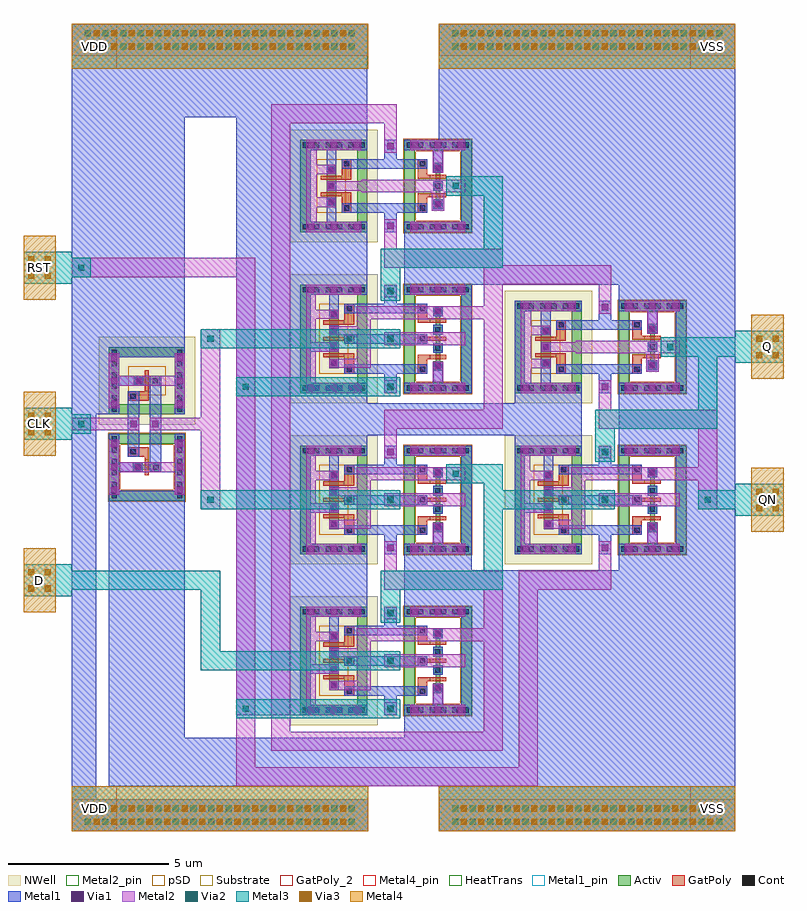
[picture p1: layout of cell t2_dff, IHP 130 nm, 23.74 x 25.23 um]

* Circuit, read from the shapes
.subckt t2_dff CLK D Q QN RST VDD VSS
XM1 t2_inverter_6/Y CLK VSS VSS sg13_lv_nmos w=0.15u l=0.13u
XM2 n1 RST VSS VSS sg13_lv_nmos w=0.15u l=0.13u
XM3 n2 D n1 VSS sg13_lv_nmos w=0.15u l=0.13u
XM4 t2_nand2$2_0/inA t2_nand3_2/inA n2 VSS sg13_lv_nmos w=0.15u l=0.13u
XM5 n3 t2_nand2$2_0/inA VSS VSS sg13_lv_nmos w=0.15u l=0.13u
XM6 n4 t2_inverter_6/Y n3 VSS sg13_lv_nmos w=0.15u l=0.13u
XM7 t2_nand3_2/inA t2_nand2$2_4/inA n4 VSS sg13_lv_nmos w=0.15u l=0.13u
XM8 n5 RST VSS VSS sg13_lv_nmos w=0.15u l=0.13u
XM9 n6 t2_inverter_6/Y n5 VSS sg13_lv_nmos w=0.15u l=0.13u
XM10 t2_nand2$2_4/inA t2_nand3_5/inA n6 VSS sg13_lv_nmos w=0.15u l=0.13u
XM11 n7 t2_nand2$2_4/inA t2_nand3_5/inA VSS sg13_lv_nmos w=0.15u l=0.13u
XM12 VSS t2_nand2$2_0/inA n7 VSS sg13_lv_nmos w=0.15u l=0.13u
XM13 n8 RST VSS VSS sg13_lv_nmos w=0.15u l=0.13u
XM14 n9 t2_nand3_2/inA n8 VSS sg13_lv_nmos w=0.15u l=0.13u
XM15 QN Q n9 VSS sg13_lv_nmos w=0.15u l=0.13u
XM16 n10 QN Q VSS sg13_lv_nmos w=0.15u l=0.13u
XM17 VSS t2_nand2$2_4/inA n10 VSS sg13_lv_nmos w=0.15u l=0.13u
XM18 t2_inverter_6/Y CLK VDD VDD sg13_lv_pmos w=0.3u l=0.13u
XM19 t2_nand3_5/inA t2_nand2$2_4/inA VDD VDD sg13_lv_pmos w=0.3u l=0.13u
XM20 VDD t2_nand2$2_0/inA t2_nand3_5/inA VDD sg13_lv_pmos w=0.3u l=0.13u
XM21 VDD RST t2_nand2$2_0/inA VDD sg13_lv_pmos w=0.3u l=0.13u
XM22 t2_nand2$2_0/inA D VDD VDD sg13_lv_pmos w=0.3u l=0.13u
XM23 VDD t2_nand3_2/inA t2_nand2$2_0/inA VDD sg13_lv_pmos w=0.3u l=0.13u
XM24 VDD t2_nand2$2_0/inA t2_nand3_2/inA VDD sg13_lv_pmos w=0.3u l=0.13u
XM25 t2_nand3_2/inA t2_inverter_6/Y VDD VDD sg13_lv_pmos w=0.3u l=0.13u
XM26 VDD t2_nand2$2_4/inA t2_nand3_2/inA VDD sg13_lv_pmos w=0.3u l=0.13u
XM27 VDD RST t2_nand2$2_4/inA VDD sg13_lv_pmos w=0.3u l=0.13u
XM28 t2_nand2$2_4/inA t2_inverter_6/Y VDD VDD sg13_lv_pmos w=0.3u l=0.13u
XM29 VDD t2_nand3_5/inA t2_nand2$2_4/inA VDD sg13_lv_pmos w=0.3u l=0.13u
XM30 Q QN VDD VDD sg13_lv_pmos w=0.3u l=0.13u
XM31 VDD t2_nand2$2_4/inA Q VDD sg13_lv_pmos w=0.3u l=0.13u
XM32 VDD RST QN VDD sg13_lv_pmos w=0.3u l=0.13u
XM33 QN t2_nand3_2/inA VDD VDD sg13_lv_pmos w=0.3u l=0.13u
XM34 VDD Q QN VDD sg13_lv_pmos w=0.3u l=0.13u
.ends

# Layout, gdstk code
from math import pi, radians
import gdstk
lib = gdstk.Library(unit=1e-6, precision=1e-09)
def R(c, l, rs):  # rectangles x0, y0, x1, y1
    for r in rs: c.add(gdstk.rectangle(r[:2], r[2:], *l))
def A(c, l, x, y, w, h, nx, ny, dx, dy):  # array of equal rectangles
    R(c, l, [(x+i*dx, y+j*dy, x+i*dx+w, y+j*dy+h) for i in range(nx) for j in range(ny)])
Activ = (1, 0)
GatPoly = (5, 0)
GatPoly_2 = (5, 2)
Cont = (6, 0)
Metal1 = (8, 0)
Metal1_pin = (8, 2)
Metal2 = (10, 0)
Metal2_pin = (10, 2)
pSD = (14, 0)
Via1 = (19, 0)
Via2 = (29, 0)
Metal3 = (30, 0)
NWell = (31, 0)
Substrate = (40, 0)
Via3 = (49, 0)
Metal4 = (50, 0)
Metal4_pin = (50, 2)
HeatTrans = (51, 0)

pmos_2 = lib.new_cell('pmos$2')
R(pmos_2, Activ, [(0,0,0.3,0.3), (0,0,0.81,0.3), (0.51,0,0.81,0.3)])
R(pmos_2, GatPoly, [(0.34,-0.18,0.47,0.48), (0.34,-0.18,0.47,0.48)])
R(pmos_2, Cont, [(0.07,0.07,0.23,0.23), (0.58,0.07,0.74,0.23)])
R(pmos_2, Metal1, [(0.07,0,0.23,0.3), (0.07,0,0.23,0.3), (0.58,0,0.74,0.3), (0.58,0,0.74,0.3)])
R(pmos_2, pSD, [(-0.18,-0.3,0.99,0.6)])
R(pmos_2, NWell, [(-0.31,-0.31,1.12,0.61)])
R(pmos_2, Substrate, [(0.51,0,0.81,0.3)])
R(pmos_2, HeatTrans, [(0.34,-0.18,0.47,0.48)])
pmos_2.add(gdstk.Label('pmos', (0.405,0.15), layer=63, texttype=0))
pmos_2.add(gdstk.Label('pmos', (0.405,0.15), layer=51, texttype=0))

nmos_2 = lib.new_cell('nmos$2')
R(nmos_2, Activ, [(0,0,0.3,0.3), (0.57,0,0.87,0.3), (0,0.075,0.87,0.225)])
R(nmos_2, GatPoly, [(0.37,-0.105,0.5,0.405)])
R(nmos_2, GatPoly_2, [(0.37,-0.105,0.5,0.405)])
R(nmos_2, Cont, [(0.07,0.07,0.23,0.23), (0.64,0.07,0.8,0.23)])
R(nmos_2, Metal1, [(0.07,0.02,0.23,0.28), (0.64,0.02,0.8,0.28)])
R(nmos_2, Metal1_pin, [(0.07,0.02,0.23,0.28), (0.64,0.02,0.8,0.28)])
R(nmos_2, HeatTrans, [(0.37,-0.105,0.5,0.405)])
nmos_2.add(gdstk.Label('nmos', (0.435,0.15), layer=63, texttype=0))
nmos_2.add(gdstk.Label('nmos', (0.435,0.15), layer=51, texttype=0))

t2_nand2_2 = lib.new_cell('t2_nand2$2')
R(t2_nand2_2, Activ, [(-6.22,-2.335,-3.66,-2.015), (-3.66,-2.335,-3.34,-0.555), (-6.22,-2.015,-5.9,-0.235), (-5.9,-0.555,-3.34,-0.235), (-6.22,0.915,-3.66,1.235), (-3.66,0.915,-3.34,2.695), (-6.22,1.235,-5.9,3.015), (-5.9,2.695,-3.34,3.015)])
R(t2_nand2_2, GatPoly, [(-5.13,-1.03,-5,-0.955), (-4.56,-1.03,-4.43,-0.955), (-5.62,-0.955,-5,-0.655), (-4.56,-0.955,-3.94,-0.655), (-5.62,1.415,-4.97,1.715), (-4.59,1.415,-3.94,1.715)])
A(t2_nand2_2, Cont, -3.58, -2.255, 0.16, 0.16, 1, 5, 0, 0.355)
A(t2_nand2_2, Cont, -6.14, -1.895, 0.16, 0.16, 1, 5, 0, 0.355)
A(t2_nand2_2, Cont, -6.14, 1.355, 0.16, 0.16, 1, 5, 0, 0.355)
A(t2_nand2_2, Cont, -3.58, 1.355, 0.16, 0.16, 1, 5, 0, 0.355)
R(t2_nand2_2, Cont, [(-6.14,-2.255,-5.98,-2.095), (-5.55,-0.885,-5.39,-0.725), (-4.17,-0.885,-4.01,-0.725), (-3.58,-0.475,-3.42,-0.315), (-6.14,0.995,-5.98,1.155), (-3.58,0.995,-3.42,1.155), (-5.55,1.485,-5.39,1.645), (-4.17,1.485,-4.01,1.645)])
R(t2_nand2_2, Metal1, [(-6.22,-2.335,-5.9,-0.235), (-5.9,-2.335,-3.66,-2.015), (-3.66,-2.335,-3.34,-0.235), (-5.9,-1.435,-5.205,-1.135), (-4.93,-1.435,-4.63,-1.135), (-4.36,-1.435,-4.06,-1.135), (-5.62,-0.955,-5.32,1.715), (-4.24,-0.955,-3.94,1.715), (-6.22,-0.005,-5.62,0.395), (-3.94,-0.005,-3.34,0.395), (-6.22,0.915,-5.9,3.015), (-3.66,0.915,-3.34,3.015), (-5.9,1.895,-5.145,2.195), (-4.93,1.895,-4.63,2.195), (-4.415,1.895,-3.66,2.195), (-5.9,2.695,-3.66,3.015)])
R(t2_nand2_2, Metal2, [(-6.22,-2.14,-5.9,-0.425), (-4.98,-2.14,-4.58,1.105), (-3.66,-2.14,-3.34,-0.425), (-4.58,-1.485,-4.01,-1.085), (-5.9,-1.445,-5.19,-1.125), (-6.22,-0.005,-5.82,0.395), (-3.74,-0.005,-3.34,0.395), (-6.22,1.105,-5.9,2.82), (-4.93,1.105,-4.63,2.19), (-3.66,1.105,-3.34,2.82), (-5.44,1.9,-5.14,2.5), (-4.42,1.9,-4.12,2.5), (-5.9,2.5,-3.66,2.82)])
R(t2_nand2_2, Metal2_pin, [(-5.455,-1.39,-5.245,-1.18), (-4.315,-1.39,-4.105,-1.18), (-6.125,0.09,-5.915,0.3), (-3.645,0.09,-3.435,0.3), (-5.395,1.94,-5.185,2.15), (-4.375,1.94,-4.165,2.15)])
R(t2_nand2_2, pSD, [(-6.25,-2.365,-3.69,-1.985), (-3.69,-2.365,-3.31,-0.585), (-6.25,-1.985,-5.87,-0.205), (-5.87,-0.585,-3.31,-0.205)])
A(t2_nand2_2, Via1, -5.385, 1.95, 0.19, 0.19, 3, 1, 0.51, 0)
R(t2_nand2_2, Via1, [(-6.155,-2.09,-5.965,-1.9), (-3.595,-2.09,-3.405,-1.9), (-5.445,-1.38,-5.255,-1.19), (-4.305,-1.38,-4.115,-1.19), (-3.595,-1.38,-3.405,-1.19), (-6.155,-1.375,-5.965,-1.185), (-6.155,-0.665,-5.965,-0.475), (-3.595,-0.665,-3.405,-0.475), (-6.115,0.1,-5.925,0.29), (-3.635,0.1,-3.445,0.29), (-6.155,1.155,-5.965,1.345), (-3.595,1.155,-3.405,1.345), (-6.155,1.87,-5.965,2.06), (-3.595,1.87,-3.405,2.06), (-6.155,2.58,-5.965,2.77), (-3.595,2.58,-3.405,2.77)])
R(t2_nand2_2, NWell, [(-6.54,0.595,-3.02,3.335)])
t2_nand2_2.add(gdstk.Reference(pmos_2, (-5.44,1.895)))
t2_nand2_2.add(gdstk.Reference(pmos_2, (-4.93,1.895)))
t2_nand2_2.add(gdstk.Reference(nmos_2, (-5.5,-1.435)))
t2_nand2_2.add(gdstk.Reference(nmos_2, (-4.93,-1.435)))
t2_nand2_2.add(gdstk.Label('VDD', (-5.29,2.045), layer=10, texttype=2))
t2_nand2_2.add(gdstk.Label('VDD', (-4.27,2.045), layer=10, texttype=2))
t2_nand2_2.add(gdstk.Label('VSS', (-5.35,-1.285), layer=10, texttype=2))
t2_nand2_2.add(gdstk.Label('out', (-4.21,-1.285), layer=10, texttype=2))
t2_nand2_2.add(gdstk.Label('inA', (-6.02,0.195), layer=10, texttype=2))
t2_nand2_2.add(gdstk.Label('inB', (-3.54,0.195), layer=10, texttype=2))

pmos_1_1 = lib.new_cell('pmos$1$1')
R(pmos_1_1, Activ, [(0,0,0.3,0.3), (0,0,0.81,0.3), (0.51,0,0.81,0.3)])
R(pmos_1_1, GatPoly, [(0.34,-0.18,0.47,0.48), (0.34,-0.18,0.47,0.48)])
R(pmos_1_1, Cont, [(0.07,0.07,0.23,0.23), (0.58,0.07,0.74,0.23)])
R(pmos_1_1, Metal1, [(0.07,0,0.23,0.3), (0.07,0,0.23,0.3), (0.58,0,0.74,0.3), (0.58,0,0.74,0.3)])
R(pmos_1_1, pSD, [(-0.18,-0.3,0.99,0.6)])
R(pmos_1_1, NWell, [(-0.31,-0.31,1.12,0.61)])
R(pmos_1_1, Substrate, [(0.51,0,0.81,0.3)])
R(pmos_1_1, HeatTrans, [(0.34,-0.18,0.47,0.48)])
pmos_1_1.add(gdstk.Label('pmos', (0.405,0.15), layer=63, texttype=0))
pmos_1_1.add(gdstk.Label('pmos', (0.405,0.15), layer=51, texttype=0))

nmos_1_1 = lib.new_cell('nmos$1$1')
R(nmos_1_1, Activ, [(0,0,0.3,0.3), (0.57,0,0.87,0.3), (0,0.075,0.87,0.225)])
R(nmos_1_1, GatPoly, [(0.37,-0.105,0.5,0.405)])
R(nmos_1_1, GatPoly_2, [(0.37,-0.105,0.5,0.405)])
R(nmos_1_1, Cont, [(0.07,0.07,0.23,0.23), (0.64,0.07,0.8,0.23)])
R(nmos_1_1, Metal1, [(0.07,0.02,0.23,0.28), (0.64,0.02,0.8,0.28)])
R(nmos_1_1, Metal1_pin, [(0.07,0.02,0.23,0.28), (0.64,0.02,0.8,0.28)])
R(nmos_1_1, HeatTrans, [(0.37,-0.105,0.5,0.405)])
nmos_1_1.add(gdstk.Label('nmos', (0.435,0.15), layer=63, texttype=0))
nmos_1_1.add(gdstk.Label('nmos', (0.435,0.15), layer=51, texttype=0))

t2_nand3 = lib.new_cell('t2_nand3')
R(t2_nand3, Activ, [(-6.73,-2.335,-6.41,-0.555), (-6.41,-2.335,-3.34,-2.015), (-3.66,-2.015,-3.34,-0.235), (-6.73,-0.555,-3.66,-0.235), (-6.73,0.915,-3.66,1.235), (-3.66,0.915,-3.34,2.695), (-6.73,1.235,-6.41,3.015), (-6.41,2.695,-3.34,3.015)])
A(t2_nand3, GatPoly, -5.67, -1.03, 0.13, 0.075, 3, 1, 0.57, 0)
R(t2_nand3, GatPoly, [(-6.13,-0.955,-5.54,-0.655), (-5.185,-0.955,-4.885,-0.655), (-4.53,-0.955,-3.94,-0.655), (-6.13,1.335,-5.48,1.635), (-5.185,1.335,-4.885,1.635), (-4.59,1.335,-3.94,1.635)])
A(t2_nand3, Cont, -6.65, -1.895, 0.16, 0.16, 1, 5, 0, 0.355)
A(t2_nand3, Cont, -3.58, -1.895, 0.16, 0.16, 1, 5, 0, 0.355)
A(t2_nand3, Cont, -6.06, -0.885, 0.16, 0.16, 3, 2, 0.945, 2.29)
A(t2_nand3, Cont, -6.65, 1.355, 0.16, 0.16, 1, 5, 0, 0.355)
A(t2_nand3, Cont, -3.58, 1.355, 0.16, 0.16, 1, 5, 0, 0.355)
R(t2_nand3, Cont, [(-6.65,-2.255,-6.49,-2.095), (-3.58,-2.255,-3.42,-2.095), (-6.65,0.995,-6.49,1.155), (-3.58,0.995,-3.42,1.155)])
A(t2_nand3, Metal1, -6.04, -1.435, 0.3, 0.3, 3, 1, 0.57, 0)
A(t2_nand3, Metal1, -6.13, -0.955, 0.3, 2.59, 3, 1, 0.945, 0)
R(t2_nand3, Metal1, [(-6.73,-2.335,-6.41,-0.235), (-6.41,-2.335,-3.66,-2.015), (-3.66,-2.335,-3.34,-0.235), (-4.325,-1.43,-3.66,-1.14), (-6.73,-0.005,-6.13,0.395), (-3.94,-0.005,-3.34,0.395), (-6.73,0.915,-6.41,3.015), (-3.66,0.915,-3.34,3.015), (-6.41,1.815,-5.655,2.115), (-5.44,1.815,-5.14,2.115), (-4.925,1.815,-4.635,2.695), (-4.42,1.815,-4.12,2.115), (-6.41,2.695,-3.66,3.015)])
R(t2_nand3, Metal2, [(-6.73,-2.14,-6.41,-0.425), (-6.05,-2.14,-5.65,0.82), (-5.235,-2.14,-4.835,0.395), (-3.66,-2.14,-3.34,-0.425), (-4.325,-1.445,-3.66,-1.125), (-6.73,-0.005,-6.33,0.395), (-3.74,-0.005,-3.34,0.395), (-6.05,0.82,-4.125,1.25), (-6.73,1.105,-6.41,2.82), (-3.66,1.105,-3.34,2.82), (-5.435,1.25,-5.145,2.11), (-4.415,1.25,-4.125,2.11), (-5.945,1.82,-5.655,2.53), (-4.925,1.82,-4.635,2.53), (-6.41,2.53,-3.66,2.82)])
A(t2_nand3, Metal2_pin, -6.635, 0.09, 0.21, 0.21, 3, 1, 1.495, 0)
R(t2_nand3, Metal2_pin, [(-5.995,-1.39,-5.785,-1.18), (-4.285,-1.39,-4.075,-1.18), (-5.905,1.86,-5.695,2.07), (-4.885,1.86,-4.675,2.07)])
R(t2_nand3, pSD, [(-6.76,-2.365,-6.38,-0.585), (-6.38,-2.365,-3.31,-1.985), (-3.69,-1.985,-3.31,-0.205), (-6.76,-0.585,-3.69,-0.205)])
A(t2_nand3, Via1, -6.625, 0.1, 0.19, 0.19, 3, 1, 1.495, 0)
A(t2_nand3, Via1, -5.895, 1.87, 0.19, 0.19, 4, 1, 0.51, 0)
R(t2_nand3, Via1, [(-6.665,-2.09,-6.475,-1.9), (-3.595,-2.09,-3.405,-1.9), (-5.985,-1.38,-5.795,-1.19), (-4.275,-1.38,-4.085,-1.19), (-6.665,-1.375,-6.475,-1.185), (-3.595,-1.375,-3.405,-1.185), (-6.665,-0.665,-6.475,-0.475), (-3.595,-0.665,-3.405,-0.475), (-6.665,1.155,-6.475,1.345), (-3.595,1.155,-3.405,1.345), (-6.665,1.87,-6.475,2.06), (-3.595,1.87,-3.405,2.06), (-6.665,2.58,-6.475,2.77), (-3.595,2.58,-3.405,2.77)])
R(t2_nand3, NWell, [(-7.05,0.595,-3.02,3.335)])
t2_nand3.add(gdstk.Reference(pmos_1_1, (-5.95,1.815)))
t2_nand3.add(gdstk.Reference(pmos_1_1, (-5.44,1.815)))
t2_nand3.add(gdstk.Reference(pmos_1_1, (-4.93,1.815)))
t2_nand3.add(gdstk.Reference(nmos_1_1, (-4.9,-1.435)))
t2_nand3.add(gdstk.Reference(nmos_1_1, (-6.04,-1.435)))
t2_nand3.add(gdstk.Reference(nmos_1_1, (-5.47,-1.435)))
t2_nand3.add(gdstk.Label('VDD', (-5.8,1.965), layer=10, texttype=2))
t2_nand3.add(gdstk.Label('VDD', (-4.78,1.965), layer=10, texttype=2))
t2_nand3.add(gdstk.Label('inA', (-6.53,0.195), layer=10, texttype=2))
t2_nand3.add(gdstk.Label('out', (-5.89,-1.285), layer=10, texttype=2))
t2_nand3.add(gdstk.Label('VSS', (-4.18,-1.285), layer=10, texttype=2))
t2_nand3.add(gdstk.Label('inB', (-5.035,0.195), layer=10, texttype=2))
t2_nand3.add(gdstk.Label('inC', (-3.54,0.195), layer=10, texttype=2))

nmos_2_1 = lib.new_cell('nmos$2$1')
R(nmos_2_1, Activ, [(0,0,0.3,0.3), (0.57,0,0.87,0.3), (0,0.075,0.87,0.225)])
R(nmos_2_1, GatPoly, [(0.37,-0.105,0.5,0.405)])
R(nmos_2_1, GatPoly_2, [(0.37,-0.105,0.5,0.405)])
R(nmos_2_1, Cont, [(0.07,0.07,0.23,0.23), (0.64,0.07,0.8,0.23)])
R(nmos_2_1, Metal1, [(0.07,0.02,0.23,0.28), (0.64,0.02,0.8,0.28)])
R(nmos_2_1, Metal1_pin, [(0.07,0.02,0.23,0.28), (0.64,0.02,0.8,0.28)])
R(nmos_2_1, HeatTrans, [(0.37,-0.105,0.5,0.405)])
nmos_2_1.add(gdstk.Label('nmos', (0.435,0.15), layer=63, texttype=0))
nmos_2_1.add(gdstk.Label('nmos', (0.435,0.15), layer=51, texttype=0))

pmos_1_1_1 = lib.new_cell('pmos$1$1$1')
R(pmos_1_1_1, Activ, [(0,0,0.3,0.3), (0,0,0.81,0.3), (0.51,0,0.81,0.3)])
R(pmos_1_1_1, GatPoly, [(0.34,-0.18,0.47,0.48), (0.34,-0.18,0.47,0.48)])
R(pmos_1_1_1, Cont, [(0.07,0.07,0.23,0.23), (0.58,0.07,0.74,0.23)])
R(pmos_1_1_1, Metal1, [(0.07,0,0.23,0.3), (0.07,0,0.23,0.3), (0.58,0,0.74,0.3), (0.58,0,0.74,0.3)])
R(pmos_1_1_1, pSD, [(-0.18,-0.3,0.99,0.6)])
R(pmos_1_1_1, NWell, [(-0.31,-0.31,1.12,0.61)])
R(pmos_1_1_1, Substrate, [(0.51,0,0.81,0.3)])
R(pmos_1_1_1, HeatTrans, [(0.34,-0.18,0.47,0.48)])
pmos_1_1_1.add(gdstk.Label('pmos', (0.405,0.15), layer=63, texttype=0))
pmos_1_1_1.add(gdstk.Label('pmos', (0.405,0.15), layer=51, texttype=0))

t2_inverter = lib.new_cell('t2_inverter')
R(t2_inverter, Activ, [(-1.425,-3.22,0.625,-2.9), (0.625,-3.22,0.945,-1.44), (-1.425,-2.9,-1.105,-1.12), (-1.105,-1.44,0.945,-1.12), (-1.425,-0.52,0.625,-0.2), (0.625,-0.52,0.945,1.26), (-1.425,-0.2,-1.105,1.58), (-1.105,1.26,0.945,1.58)])
R(t2_inverter, GatPoly, [(-0.305,-1.915,-0.175,-1.84), (-0.825,-1.84,-0.175,-1.54), (-0.825,-0.1,-0.175,0.2)])
A(t2_inverter, Cont, -1.345, -2.78, 0.16, 0.16, 1, 5, 0, 0.355)
A(t2_inverter, Cont, 0.705, -2.78, 0.16, 0.16, 1, 5, 0, 0.355)
A(t2_inverter, Cont, -1.345, -0.08, 0.16, 0.16, 1, 5, 0, 0.355)
A(t2_inverter, Cont, 0.705, -0.08, 0.16, 0.16, 1, 5, 0, 0.355)
R(t2_inverter, Cont, [(-1.345,-3.14,-1.185,-2.98), (0.705,-3.14,0.865,-2.98), (-0.755,-1.77,-0.595,-1.61), (-1.345,-0.44,-1.185,-0.28), (0.705,-0.44,0.865,-0.28), (-0.755,-0.03,-0.595,0.13)])
R(t2_inverter, Metal1, [(-1.425,-3.22,-1.105,-1.12), (-1.105,-3.22,0.625,-2.9), (0.625,-3.22,0.945,-1.12), (-1.105,-2.32,-0.38,-2.02), (-0.155,-2.32,0.205,0.68), (-0.835,-1.84,-0.475,0.2), (-1.425,-0.52,-1.105,1.58), (0.625,-0.52,0.945,1.58), (-1.105,0.38,-0.35,0.68), (-1.105,1.26,0.625,1.58)])
R(t2_inverter, Metal2, [(-1.425,-3.025,-1.105,-1.31), (0.625,-3.025,0.945,-1.31), (-1.105,-2.33,0.625,-2.01), (-1.425,-1.02,-0.475,-0.62), (-0.155,-1.02,0.945,-0.62), (-1.425,-0.33,-1.105,1.385), (0.625,-0.33,0.945,1.385), (-1.105,0.37,0.625,0.69)])
R(t2_inverter, Metal2_pin, [(-0.63,-2.275,-0.42,-2.065), (-0.76,-0.925,-0.55,-0.715), (-0.08,-0.925,0.13,-0.715), (-0.6,0.425,-0.39,0.635)])
R(t2_inverter, pSD, [(-1.455,-3.25,0.595,-2.87), (0.595,-3.25,0.975,-1.47), (-1.455,-2.87,-1.075,-1.09), (-1.075,-1.47,0.975,-1.09)])
R(t2_inverter, Via1, [(-1.36,-2.975,-1.17,-2.785), (0.69,-2.975,0.88,-2.785), (-0.62,-2.265,-0.43,-2.075), (-1.36,-2.26,-1.17,-2.07), (0.69,-2.26,0.88,-2.07), (-1.36,-1.55,-1.17,-1.36), (0.69,-1.55,0.88,-1.36), (-0.75,-0.915,-0.56,-0.725), (-0.07,-0.915,0.12,-0.725), (-1.36,-0.28,-1.17,-0.09), (0.69,-0.28,0.88,-0.09), (-1.36,0.435,-1.17,0.625), (-0.59,0.435,-0.4,0.625), (0.69,0.435,0.88,0.625), (-1.36,1.145,-1.17,1.335), (0.69,1.145,0.88,1.335)])
R(t2_inverter, NWell, [(-1.745,-0.84,1.265,1.9)])
t2_inverter.add(gdstk.Reference(nmos_2_1, (-0.675,-2.32)))
t2_inverter.add(gdstk.Reference(pmos_1_1_1, (-0.645,0.38)))
t2_inverter.add(gdstk.Label('Y', (0.025,-0.82), layer=10, texttype=2))
t2_inverter.add(gdstk.Label('A', (-0.655,-0.82), layer=10, texttype=2))
t2_inverter.add(gdstk.Label('VN', (-0.525,-2.17), layer=10, texttype=2))
t2_inverter.add(gdstk.Label('VP', (-0.495,0.53), layer=10, texttype=2))

t2_dff = lib.new_cell('t2_dff')
A(t2_dff, Metal1, -3.315, -12.21, 2.1, 1.64, 1, 3, 0, 5.03)
R(t2_dff, Metal1, [(-10.46,-19.23,-9.69,-4.105), (-9.69,-19.23,-1.19,-18.22), (1.01,-19.23,10.28,-15.6), (-9.29,-17.82,-0.065,-16.3), (-0.065,-17.82,2.035,-15.6), (-9.29,-16.3,-6.92,-8.905), (-5.315,-15.6,-3.315,3.07), (2.035,-15.6,6.635,-11.08), (6.635,-15.6,8.735,-10.57), (8.735,-15.6,10.28,2.37), (-0.065,-12.21,2.035,-10.57), (3.385,-7.18,5.485,-5.54), (6.635,-7.18,8.735,-5.54), (-1.215,-6.86,3.385,-5.86), (-9.69,-6.205,-9.29,-4.105), (-10.46,-4.105,-9.29,3.07), (-9.29,-4.105,-6.92,3.07), (6.635,-2.66,8.735,2.37), (-0.065,-2.15,2.035,-0.51), (2.035,-2.15,6.635,2.37), (-3.315,2.37,-1.215,3.07), (1.01,2.37,10.28,6), (-10.46,3.07,-1.215,6)])
A(t2_dff, Metal2, -0.695, -11.69, 3.705, 0.6, 1, 3, 0, 5.03)
R(t2_dff, Metal2, [(-10.46,-19.23,-1.19,-18.22), (1.01,-19.23,10.28,-18.22), (-5.32,-17.82,3.51,-17.22), (3.51,-17.82,4.11,-11.69), (-5.32,-17.22,-4.72,-1.92), (-4.22,-16.72,3.01,-16.12), (-4.22,-16.12,-3.62,2.89), (2.41,-16.12,3.01,-11.69), (1.84,-13.29,2.41,-12.89), (3.51,-11.69,6.405,-11.09), (-0.695,-11.09,-0.295,-10.57), (6.005,-11.09,6.405,-10.57), (-6.42,-9.175,-5.82,-3.545), (9.11,-9.175,9.71,-6.66), (8.54,-8.26,9.11,-7.86), (-0.695,-7.18,-0.295,-6.66), (-10.46,-6.705,-9.29,-6.305), (-6.92,-6.705,-6.42,-6.305), (6.005,-6.66,9.71,-6.06), (2.41,-6.06,3.01,-1.63), (6.005,-6.06,6.405,-5.54), (1.84,-3.23,2.41,-2.83), (6.005,-2.66,6.405,-2.14), (3.01,-2.14,6.405,-1.54), (-10.46,-1.92,-4.72,-1.32), (-0.695,-1.03,-0.295,-0.51), (-0.695,2.37,-0.295,2.89), (-4.22,2.89,-0.295,3.49), (-10.46,4.99,-1.19,6), (1.01,4.99,10.28,6)])
A(t2_dff, Via1, -9.77, -19.03, 0.19, 0.19, 15, 2, 0.55, 0.42)
A(t2_dff, Via1, 1.7, -19.03, 0.19, 0.19, 15, 2, 0.55, 0.42)
A(t2_dff, Via1, -9.77, 5.19, 0.19, 0.19, 15, 2, 0.55, 0.42)
A(t2_dff, Via1, 1.7, 5.19, 0.19, 0.19, 15, 2, 0.55, 0.42)
A(t2_dff, Via2, -10.045, -19.03, 0.19, 0.19, 16, 2, 0.55, 0.42)
A(t2_dff, Via2, 1.425, -19.03, 0.19, 0.19, 16, 2, 0.55, 0.42)
A(t2_dff, Via2, -0.59, -15.495, 0.19, 0.19, 1, 3, 0, 1.495)
A(t2_dff, Via2, -0.59, -5.435, 0.19, 0.19, 1, 3, 0, 1.495)
A(t2_dff, Via2, -10.045, 5.19, 0.19, 0.19, 16, 2, 0.55, 0.42)
A(t2_dff, Via2, 1.425, 5.19, 0.19, 0.19, 16, 2, 0.55, 0.42)
R(t2_dff, Via2, [(-5.115,-15.495,-4.925,-15.305), (-6.215,-8.97,-6.025,-8.78), (-0.59,-8.97,-0.4,-8.78), (6.11,-8.97,6.3,-8.78), (9.315,-8.97,9.505,-8.78), (1.445,-8.155,1.635,-7.965), (6.11,-7.475,6.3,-7.285), (-10.255,-6.6,-10.065,-6.41), (-5.115,-5.435,-4.925,-5.245), (8.145,-4.195,8.335,-4.005), (-6.215,-3.94,-6.025,-3.75), (-10.255,-1.715,-10.065,-1.525), (1.445,0.835,1.635,1.025)])
A(t2_dff, Metal3, -11.96, -11.89, 1.5, 1, 1, 3, 0, 4.885)
R(t2_dff, Metal3, [(-10.46,-19.23,-1.19,-17.82), (1.01,-19.23,10.28,-17.82), (-5.32,-15.7,-0.195,-15.1), (-6.42,-14.205,-5.82,-11.09), (-5.82,-14.205,-0.195,-13.605), (-0.795,-12.71,-0.195,-11.69), (-10.46,-11.69,-6.42,-11.09), (-0.795,-11.69,3.01,-11.09), (2.41,-11.09,3.01,-7.76), (10.28,-9.375,11.78,-8.375), (-6.42,-9.175,-0.195,-8.575), (3.01,-9.175,6.505,-8.575), (9.11,-9.175,10.28,-8.575), (1.24,-8.36,2.41,-7.76), (5.905,-7.68,6.505,-6.66), (-10.46,-6.805,-9.86,-6.205), (5.905,-6.66,9.71,-6.06), (9.11,-6.06,9.71,-4.4), (-5.32,-5.64,-0.195,-5.04), (10.28,-4.6,11.78,-3.6), (7.94,-4.4,10.28,-3.8), (-6.42,-4.145,-0.195,-3.545), (-0.795,-2.65,-0.195,-1.63), (-10.46,-1.92,-9.86,-1.32), (-0.795,-1.63,3.01,-1.03), (2.41,-1.03,3.01,0.63), (1.24,0.63,3.01,1.23), (-10.46,4.59,-1.19,6), (1.01,4.59,10.28,6)])
A(t2_dff, Via3, -9.77, -19.03, 0.19, 0.19, 15, 2, 0.55, 0.42)
A(t2_dff, Via3, 1.7, -19.03, 0.19, 0.19, 15, 2, 0.55, 0.42)
A(t2_dff, Via3, -9.77, 5.19, 0.19, 0.19, 15, 2, 0.55, 0.42)
A(t2_dff, Via3, 1.7, 5.19, 0.19, 0.19, 15, 2, 0.55, 0.42)
R(t2_dff, Via3, [(-11.81,-11.74,-11.62,-11.55), (-11.3,-11.74,-11.11,-11.55), (-11.81,-11.23,-11.62,-11.04), (-11.3,-11.23,-11.11,-11.04), (10.93,-9.225,11.12,-9.035), (11.44,-9.225,11.63,-9.035), (10.93,-8.715,11.12,-8.525), (11.44,-8.715,11.63,-8.525), (-11.81,-6.855,-11.62,-6.665), (-11.3,-6.855,-11.11,-6.665), (-11.81,-6.345,-11.62,-6.155), (-11.3,-6.345,-11.11,-6.155), (10.93,-4.45,11.12,-4.26), (11.44,-4.45,11.63,-4.26), (10.93,-3.94,11.12,-3.75), (11.44,-3.94,11.63,-3.75), (-11.81,-1.97,-11.62,-1.78), (-11.3,-1.97,-11.11,-1.78), (-11.81,-1.46,-11.62,-1.27), (-11.3,-1.46,-11.11,-1.27)])
A(t2_dff, Metal4, -11.96, -12.39, 1, 2, 1, 3, 0, 4.885)
R(t2_dff, Metal4, [(-10.46,-19.23,-1.19,-17.82), (1.01,-19.23,10.28,-17.82), (10.78,-9.875,11.78,-7.875), (10.78,-5.1,11.78,-3.1), (-10.46,4.59,-1.19,6), (1.01,4.59,10.28,6)])
A(t2_dff, Metal4_pin, -11.96, -12.39, 1, 2, 1, 3, 0, 4.885)
R(t2_dff, Metal4_pin, [(-10.46,-19.23,-9.05,-17.82), (8.87,-19.23,10.28,-17.82), (10.78,-9.875,11.78,-7.875), (10.78,-5.1,11.78,-3.1), (-10.46,4.59,-9.05,6), (8.87,4.59,10.28,6)])
t2_dff.add(gdstk.Reference(t2_nand2_2, (-0.3,-3.85), rotation=3*pi/2, x_reflection=True))
t2_dff.add(gdstk.Reference(t2_nand3, (-0.3,-13.91), rotation=3*pi/2, x_reflection=True))
t2_dff.add(gdstk.Reference(t2_nand3, (-0.3,-18.94), rotation=3*pi/2, x_reflection=True))
t2_dff.add(gdstk.Reference(t2_nand3, (6.4,-13.91), rotation=3*pi/2, x_reflection=True))
t2_dff.add(gdstk.Reference(t2_nand2_2, (6.4,-8.88), rotation=3*pi/2, x_reflection=True))
t2_dff.add(gdstk.Reference(t2_nand3, (-0.3,-8.88), rotation=3*pi/2, x_reflection=True))
t2_dff.add(gdstk.Reference(t2_inverter, (-7.865,-5.685)))
t2_dff.add(gdstk.Label('CLK', (-11.46,-6.505), layer=50, texttype=2))
t2_dff.add(gdstk.Label('RST', (-11.46,-1.62), layer=50, texttype=2))
t2_dff.add(gdstk.Label('D', (-11.46,-11.39), layer=50, texttype=2))
t2_dff.add(gdstk.Label('QN', (11.28,-8.875), layer=50, texttype=2))
t2_dff.add(gdstk.Label('Q', (11.28,-4.1), layer=50, texttype=2))
t2_dff.add(gdstk.Label('VDD', (-9.755,-18.525), layer=50, texttype=2))
t2_dff.add(gdstk.Label('VSS', (9.575,5.295), layer=50, texttype=2))
t2_dff.add(gdstk.Label('VSS', (9.575,-18.525), layer=50, texttype=2))
t2_dff.add(gdstk.Label('VDD', (-9.755,5.295), layer=50, texttype=2))

lib.write_gds('t2_dff.gds')
